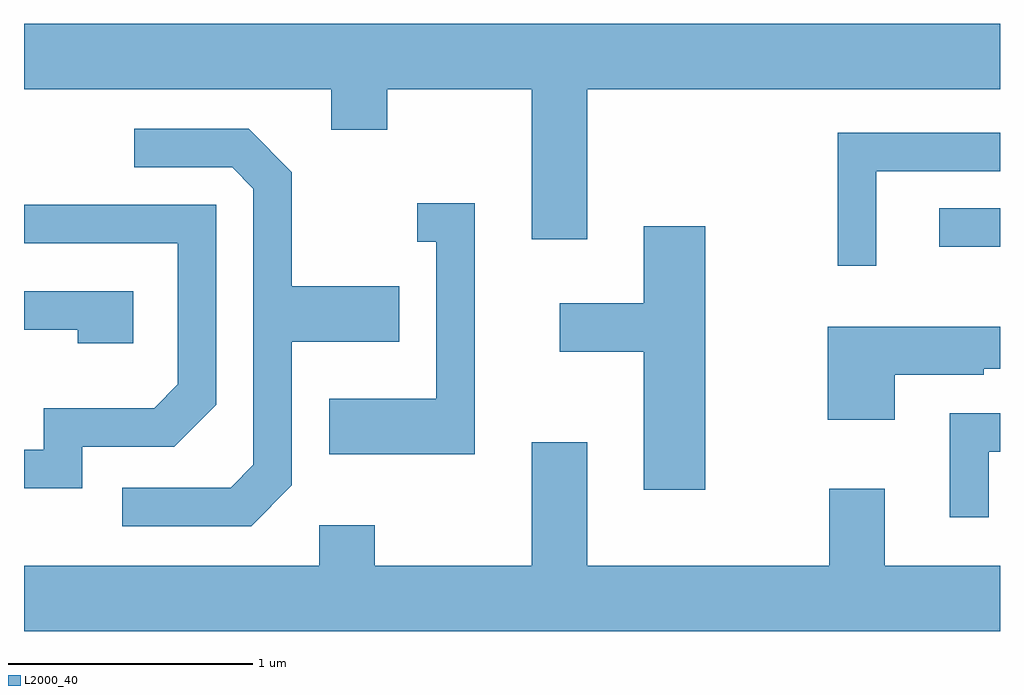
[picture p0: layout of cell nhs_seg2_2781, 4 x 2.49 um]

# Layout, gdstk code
import gdstk
lib = gdstk.Library(unit=1e-6, precision=1e-09)
def R(c, l, rs):  # rectangles x0, y0, x1, y1
    for r in rs: c.add(gdstk.rectangle(r[:2], r[2:], *l))
def P(c, l, *ps):  # polygons
    for p in ps: c.add(gdstk.Polygon(p, *l))
L2000_40 = (2000, 40)

nhs_seg2_2781 = lib.new_cell('nhs_seg2_2781')
R(nhs_seg2_2781, L2000_40, [(269.363,1114.271,269.611,1114.429)])
P(nhs_seg2_2781, L2000_40, [(267.919,1114.916),(269.611,1114.916),(269.611,1115.184),(265.611,1115.184),(265.611,1114.916),(266.871,1114.916),(266.871,1114.751),(267.099,1114.751),(267.099,1114.916),(267.691,1114.916),(267.691,1114.301),(267.919,1114.301)],
  [(266.709,1113.294),(266.709,1113.881),(267.149,1113.881),(267.149,1114.109),(266.709,1114.109),(266.709,1114.577),(266.532,1114.754),(266.063,1114.754),(266.063,1114.596),(266.464,1114.596),(266.551,1114.509),(266.551,1113.377),(266.459,1113.284),(266.013,1113.284),(266.013,1113.126),(266.542,1113.126)],
  [(269.104,1114.581),(269.611,1114.581),(269.611,1114.739),(268.946,1114.739),(268.946,1114.193),(269.104,1114.193)],
  [(267.459,1114.449),(267.223,1114.449),(267.223,1114.291),(267.301,1114.291),(267.301,1113.649),(266.861,1113.649),(266.861,1113.421),(267.459,1113.421)],
  [(265.849,1113.451),(266.227,1113.451),(266.399,1113.624),(266.399,1114.444),(265.611,1114.444),(265.611,1114.286),(266.241,1114.286),(266.241,1113.707),(266.144,1113.609),(265.691,1113.609),(265.691,1113.439),(265.611,1113.439),(265.611,1113.281),(265.849,1113.281)],
  [(268.404,1114.354),(268.151,1114.354),(268.151,1114.039),(267.806,1114.039),(267.806,1113.841),(268.151,1113.841),(268.151,1113.276),(268.404,1113.276)],
  [(266.059,1114.089),(265.611,1114.089),(265.611,1113.931),(265.831,1113.931),(265.831,1113.876),(266.059,1113.876)],
  [(269.179,1113.746),(269.544,1113.746),(269.544,1113.771),(269.611,1113.771),(269.611,1113.944),(268.906,1113.944),(268.906,1113.561),(269.179,1113.561)],
  [(269.564,1113.431),(269.611,1113.431),(269.611,1113.589),(269.406,1113.589),(269.406,1113.163),(269.564,1113.163)],
  [(269.611,1112.964),(269.139,1112.964),(269.139,1113.279),(268.911,1113.279),(268.911,1112.964),(267.919,1112.964),(267.919,1113.469),(267.691,1113.469),(267.691,1112.964),(267.049,1112.964),(267.049,1113.129),(266.821,1113.129),(266.821,1112.964),(265.611,1112.964),(265.611,1112.696),(269.611,1112.696)])

lib.write_gds('nhs_seg2_2781.gds')
